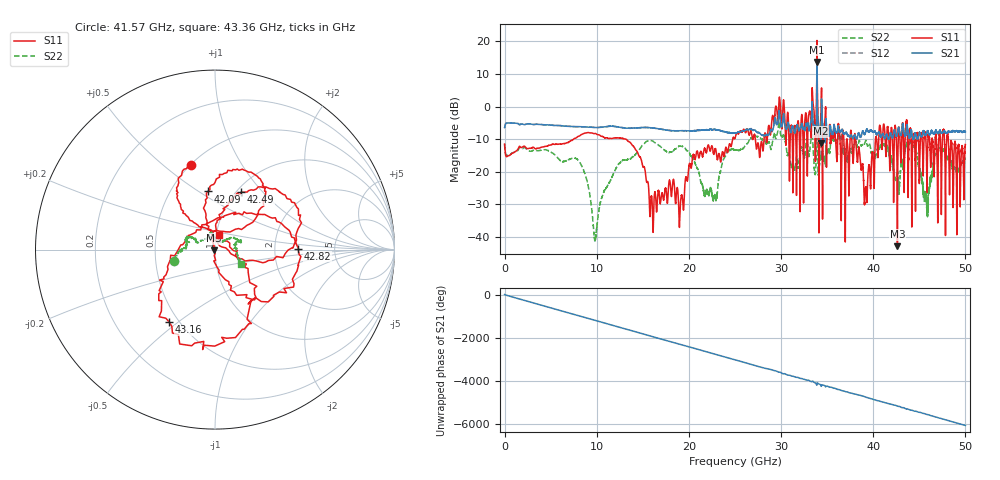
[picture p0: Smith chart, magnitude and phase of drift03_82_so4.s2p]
!Created with skrf (http://scikit-rf.org).
# Hz S RI R 50.0
!freq ReS11 ImS11 ReS21 ImS21 ReS12 ImS12 ReS22 ImS22
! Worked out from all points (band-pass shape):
!   10001 points, 300 kHz to 50 GHz, reference 50 ohm
!   highest |S21| = 13.71 dB at 33.9 GHz (marker M1); lowest = -11.3 dB at 34.32 GHz (marker M2)
!   |S21| within 3 dB of the highest: 33.8903 GHz to 33.9043 GHz (14 MHz wide, 0.0413 % of centre)
!   lowest |S11| = -42.9 dB at 42.63 GHz (marker M3), VSWR 1.01, Z = 49.4 - j0.339 ohm
!   |S11| at or under -10 dB: start of sweep to 7.492 GHz; 13.14 GHz to 24.74 GHz (11.6 GHz wide, 61.3 % of centre); 38.09 GHz to 40.25 GHz (2.152 GHz wide, 5.5 % of centre) (the widest 3 of 52)
!   |S22| runs from -41.3 to 6.2 dB; largest |S21 - S12| = 0.36
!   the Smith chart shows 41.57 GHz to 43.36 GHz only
!   S11 on the Smith chart (normalised r, x): 41.57 GHz: 0.50, +0.63; 42.09 GHz: 0.75, +0.55; 42.49 GHz: 1.05, +0.77; 42.82 GHz: 2.74, +0.04; 43.16 GHz: 0.44, -0.47; 43.36 GHz: 1.03, +0.17
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300000  -0.2373 -0.1183  0.467 0.0776  0.4663 0.0784  -0.2359 -0.1237
1.440291e9  0.2099 0.0649  -0.5479 -0.0297  -0.548 -0.0297  0.2114 -0.00363
2.915283e9  -0.2123 -0.0881  0.5347 0.0522  0.535 0.0522  -0.202 0.0401
8.33525e9  0.2892 -0.233  0.1451 0.4668  0.1449 0.4671  -0.0725 -0.102
9.835241e9  -0.366 0.122  -0.1371 -0.456  -0.137 -0.4564  0.00865 0.00249
1.66702e10  0.0267 0.0433  -0.3802 0.2522  -0.3809 0.2514  -0.1287 -0.2215
2.500015e10  -0.327 -0.0159  -0.2527 -0.2984  -0.2518 -0.3015  -0.2129 0.0248
2.895513e10  -0.3265 0.4303  -0.2906 0.3239  -0.3013 0.2873  0.0626 0.2217
3.006512e10  0.4 0.2699  0.4533 -0.1928  0.4574 -0.1781  0.1797 -0.2957
3.171011e10  -0.0919 0.1867  -0.3648 0.354  -0.3662 0.3522  0.064 0.1586
3.33351e10  0.6656 -0.838  0.2629 -0.8637  0.2693 -0.8392  -0.1858 -0.4378
3.38951e10  -2.299 -10.08  -4.797 0.6993  -4.492 0.8923  0.4554 1.984
3.432009e10  -0.7779 -0.00322  -0.1834 0.2002  -0.245 0.1789  0.145 -0.0743
4.156505e10  -0.133 0.472  0.3315 0.087  0.3288 0.0857  -0.226 -0.0625
4.167005e10  -0.2086 0.3007  0.3162 0.00473  0.3181 0.0114  -0.1961 -0.00327
4.209005e10  -0.0401 0.324  0.234 -0.2332  0.2377 -0.2327  -0.1093 0.0537
4.248505e10  0.145 0.3196  0.0109 -0.352  0.012 -0.3545  -0.0311 0.0677
4.262504e10  -0.00629 -0.00343  -0.1657 -0.3444  -0.1636 -0.3465  -0.0282 0.093
4.282004e10  0.4649 0.0054  -0.2514 -0.3416  -0.2479 -0.3455  0.0336 0.0391
4.316004e10  -0.254 -0.4048  -0.5064 0.0725  -0.5083 0.06  0.1396 0.0499
4.336004e10  0.0196 0.0802  -0.3656 0.1368  -0.3667 0.1348  0.1444 -0.0791
5e10  -0.119 -0.2322  0.1353 0.3874  0.1355 0.3877  -0.0509 -0.1475
